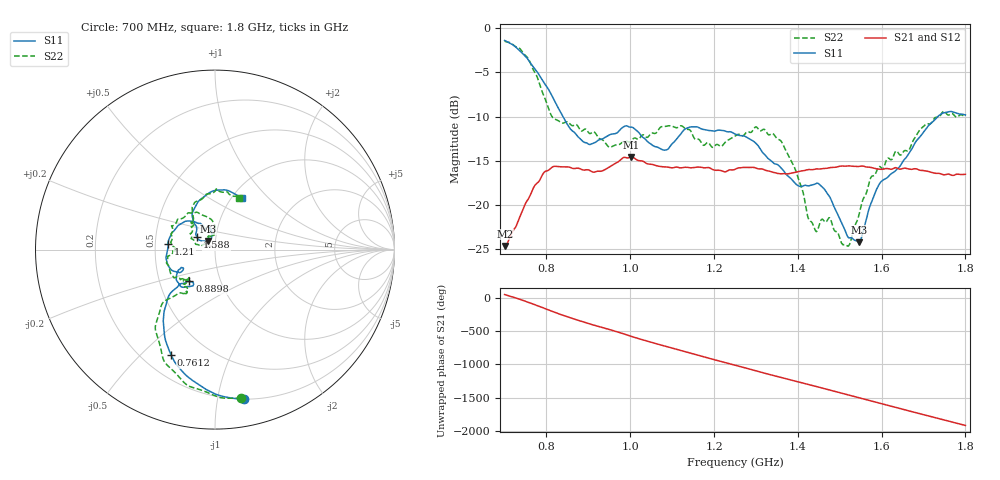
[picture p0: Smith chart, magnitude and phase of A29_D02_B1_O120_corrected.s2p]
! Created with skrf 1.9.0 (http://scikit-rf.org).
# Hz S RI R 50.0
!freq ReS11 ImS11 ReS21 ImS21 ReS12 ImS12 ReS22 ImS22
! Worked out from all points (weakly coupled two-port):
!   1601 points, 700 MHz to 1.8 GHz, reference 50 ohm
!   highest |S21| = -14.57 dB at 1.002 GHz (marker M1); lowest = -24.6 dB at 700.7 MHz (marker M2)
!   lowest |S11| = -24.2 dB at 1.546 GHz (marker M3), VSWR 1.13, Z = 46.1 + j4.43 ohm
!   |S11| at or under -10 dB: 839 MHz to 1.734 GHz (895.4 MHz wide, 69.6 % of centre)
!   |S22| runs from -24.6 to -1.5 dB; largest |S21 - S12| = 0.0035
!   S11 on the Smith chart (normalised r, x): 700 MHz: 0.20, -1.19; 761.2 MHz: 0.31, -0.62; 889.8 MHz: 0.71, -0.26; 1.21 GHz: 0.58, +0.04; 1.588 GHz: 0.81, +0.11; 1.8 GHz: 1.12, +0.71
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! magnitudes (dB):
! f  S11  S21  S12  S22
! 700 MHz  -1.4  -24.6  -24.4  -1.5
! 700.7 MHz  -1.4  -24.6  -24.3  -1.5
! 761.2 MHz  -3.9  -18.9  -18.8  -3.9
! 814.1 MHz  -7.8  -15.7  -15.7  -10.1
! 883.6 MHz  -12.7  -16.0  -15.9  -11.7
! 889.8 MHz  -12.9  -16.0  -16.0  -11.5
! 950.9 MHz  -12.1  -15.7  -15.7  -13.5
! 1.002 GHz  -11.2  -14.6  -14.7  -12.7
! 1.067 GHz  -13.5  -15.6  -15.5  -11.5
! 1.14 GHz  -11.2  -15.8  -15.7  -11.5
! 1.21 GHz  -11.5  -16.1  -16.1  -13.2
! 1.25 GHz  -12.0  -16.0  -15.9  -12.2
! 1.3 GHz  -13.0  -15.8  -15.8  -11.2
! 1.359 GHz  -15.8  -16.5  -16.5  -12.7
! 1.434 GHz  -17.7  -16.0  -16.0  -22.0
! 1.476 GHz  -19.0  -15.8  -15.8  -21.4
! 1.518 GHz  -23.5  -15.6  -15.6  -24.6
! 1.546 GHz  -24.2  -15.6  -15.6  -21.0
! 1.588 GHz  -18.3  -15.9  -15.9  -16.2
! 1.617 GHz  -16.7  -15.9  -15.9  -14.7
! 1.737 GHz  -9.9  -16.4  -16.5  -10.0
! 1.8 GHz  -9.8  -16.5  -16.5  -10.0
